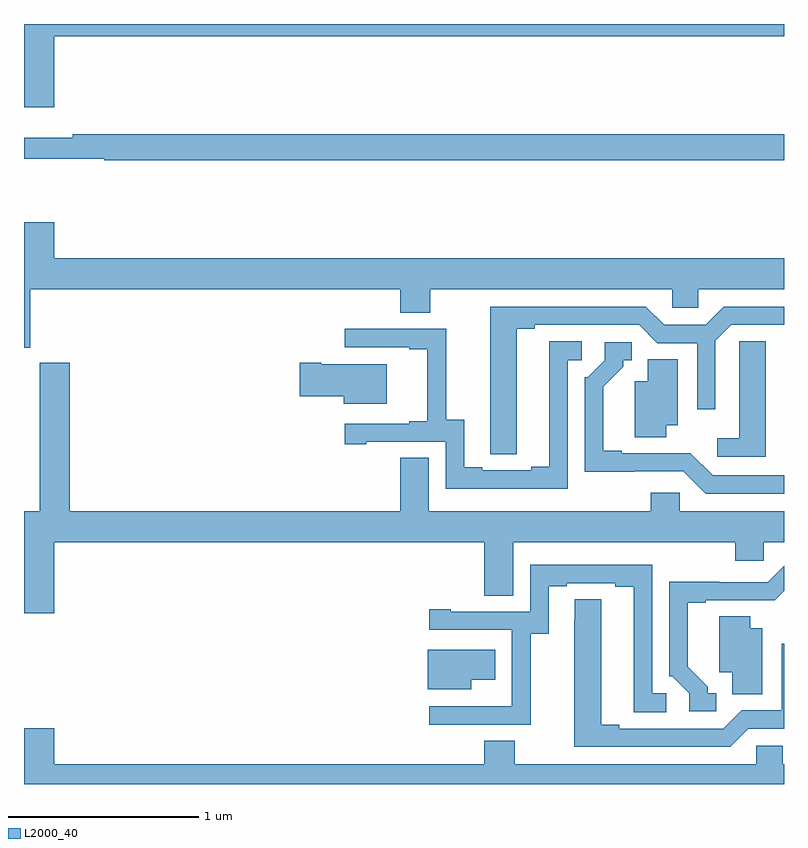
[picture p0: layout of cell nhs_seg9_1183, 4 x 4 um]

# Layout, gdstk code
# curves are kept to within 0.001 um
import gdstk
lib = gdstk.Library(unit=1e-6, precision=1e-09)
def P(c, l, *ps):  # polygons
    for p in ps: c.add(gdstk.Polygon(p, *l))
L2000_40 = (2000, 40)

nhs_seg9_1183 = lib.new_cell('nhs_seg9_1183')
P(nhs_seg9_1183, L2000_40, [(177.16,1180.436),(181,1180.436),(181,1180.5),(177,1180.5),(177,1180.062),(177.16,1180.062)],
  [(181,1179.92),(177.256,1179.92),(177.256,1179.901),(177,1179.901),(177,1179.792),(177.422,1179.792),(177.422,1179.784),(181,1179.784)],
  [(177.16,1179.457),(177,1179.457),(177,1178.795),(177.034,1178.795),(177.034,1179.104),(178.979,1179.104),(178.979,1178.98),(179.139,1178.98),(179.139,1179.104),(180.411,1179.104),(180.411,1179.006),(180.549,1179.006),(180.549,1179.104),(181,1179.104),(181,1179.268),(177.16,1179.268)],
  [(179.593,1178.896),(179.689,1178.896),(179.689,1178.916),(180.237,1178.916),(180.333,1178.82),(180.543,1178.82),(180.543,1178.472),(180.639,1178.472),(180.639,1178.832),(180.723,1178.916),(181,1178.916),(181,1179.012),(180.683,1179.012),(180.587,1178.916),(180.369,1178.916),(180.273,1179.012),(179.453,1179.012),(179.454,1178.236),(179.593,1178.236)],
  [(179.862,1178.73),(179.935,1178.73),(179.935,1178.831),(179.765,1178.831),(179.765,1178.171),(179.669,1178.171),(179.669,1178.151),(179.413,1178.151),(179.413,1178.166),(179.317,1178.166),(179.317,1178.417),(179.223,1178.417),(179.223,1178.895),(178.689,1178.895),(178.689,1178.799),(179.027,1178.799),(179.027,1178.787),(179.123,1178.787),(179.123,1178.41),(179.027,1178.41),(179.027,1178.397),(178.689,1178.397),(178.689,1178.289),(178.801,1178.289),(178.801,1178.301),(179.22,1178.301),(179.22,1178.055),(179.862,1178.055)],
  [(180.904,1178.831),(180.765,1178.831),(180.765,1178.723),(180.764,1178.723),(180.764,1178.32),(180.648,1178.32),(180.648,1178.223),(180.904,1178.223)],
  [(181,1178.124),(180.624,1178.124),(180.506,1178.242),(180.145,1178.241),(180.145,1178.254),(180.049,1178.254),(180.049,1178.59),(180.154,1178.695),(180.154,1178.73),(180.199,1178.73),(180.199,1178.826),(180.057,1178.826),(180.057,1178.73),(179.967,1178.64),(179.952,1178.64),(179.952,1178.144),(180.471,1178.145),(180.588,1178.028),(181,1178.028)],
  [(180.379,1178.387),(180.442,1178.387),(180.442,1178.735),(180.284,1178.735),(180.284,1178.62),(180.215,1178.62),(180.215,1178.326),(180.379,1178.326)],
  [(178.909,1178.71),(178.564,1178.71),(178.564,1178.718),(178.452,1178.718),(178.452,1178.54),(178.682,1178.54),(178.682,1178.501),(178.909,1178.501)],
  [(177.16,1177.772),(179.423,1177.772),(179.423,1177.492),(179.575,1177.492),(179.575,1177.772),(180.743,1177.772),(180.743,1177.674),(180.894,1177.674),(180.894,1177.772),(181,1177.772),(181,1177.936),(180.45,1177.936),(180.45,1178.034),(180.299,1178.034),(180.299,1177.936),(179.131,1177.936),(179.131,1178.216),(178.979,1178.216),(178.979,1177.936),(177.242,1177.936),(177.242,1178.716),(177.082,1178.716),(177.082,1177.936),(177,1177.936),(177,1177.398),(177.16,1177.398)],
  [(179.667,1177.291),(179.761,1177.291),(179.761,1177.542),(179.857,1177.542),(179.857,1177.557),(180.113,1177.557),(180.113,1177.537),(180.209,1177.537),(180.209,1176.877),(180.379,1176.877),(180.379,1176.978),(180.306,1176.978),(180.306,1177.653),(179.664,1177.653),(179.664,1177.407),(179.245,1177.407),(179.245,1177.42),(179.133,1177.42),(179.133,1177.311),(179.568,1177.311),(179.568,1176.91),(179.567,1176.91),(179.567,1176.909),(179.133,1176.909),(179.133,1176.813),(179.667,1176.813)],
  [(180.643,1176.978),(180.598,1176.978),(180.598,1177.013),(180.493,1177.118),(180.493,1177.455),(180.589,1177.455),(180.589,1177.467),(180.95,1177.466),(181,1177.516),(181,1177.648),(180.915,1177.563),(180.659,1177.563),(180.659,1177.565),(180.396,1177.565),(180.396,1177.068),(180.411,1177.068),(180.501,1176.978),(180.501,1176.882),(180.643,1176.882)],
  [(180.813,1176.792),(181,1176.792),(181,1177.237),(180.987,1177.237),(180.987,1176.888),(180.777,1176.888),(180.681,1176.792),(180.133,1176.792),(180.133,1176.812),(180.037,1176.812),(180.037,1177.472),(179.898,1177.472),(179.897,1176.696),(180.717,1176.696)],
  [(180.886,1177.321),(180.823,1177.321),(180.823,1177.382),(180.659,1177.382),(180.659,1177.088),(180.728,1177.088),(180.728,1176.973),(180.886,1176.973)],
  [(179.353,1177.049),(179.479,1177.049),(179.479,1177.207),(179.126,1177.207),(179.126,1176.998),(179.353,1176.998)],
  [(181,1176.604),(180.993,1176.604),(180.993,1176.702),(180.855,1176.702),(180.855,1176.604),(179.583,1176.604),(179.583,1176.728),(179.423,1176.728),(179.423,1176.604),(177.16,1176.604),(177.16,1176.793),(177,1176.793),(177,1176.5),(181,1176.5)])

lib.write_gds('nhs_seg9_1183.gds')
